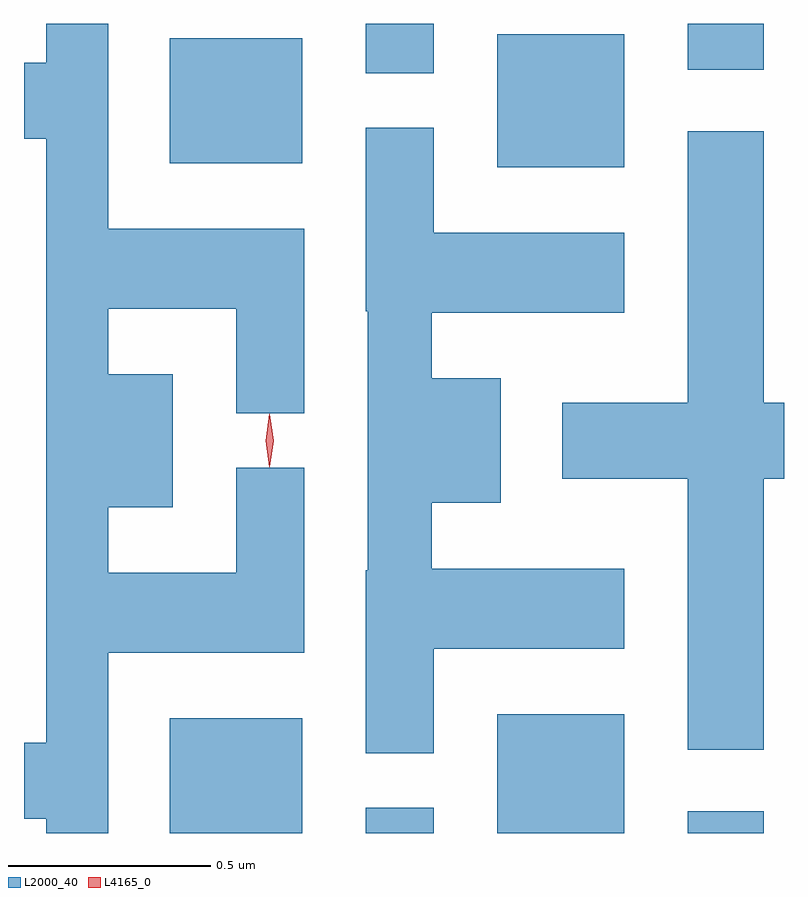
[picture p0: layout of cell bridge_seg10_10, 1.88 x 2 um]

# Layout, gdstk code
import gdstk
lib = gdstk.Library(unit=1e-6, precision=1e-09)
def R(c, l, rs):  # rectangles x0, y0, x1, y1
    for r in rs: c.add(gdstk.rectangle(r[:2], r[2:], *l))
def P(c, l, *ps):  # polygons
    for p in ps: c.add(gdstk.Polygon(p, *l))
L2000_40 = (2000, 40)
L4165_0 = (4165, 0)

bridge_seg10_10 = lib.new_cell('bridge_seg10_10')
R(bridge_seg10_10, L2000_40, [(1912.546,2169.88,1912.874,2170.164), (1913.031,2169.88,1913.199,2169.943), (1913.356,2169.88,1913.669,2170.174), (1913.826,2169.88,1914.014,2169.934), (1913.356,2171.526,1913.669,2171.854), (1912.546,2171.536,1912.874,2171.844), (1913.031,2171.758,1913.199,2171.88), (1913.826,2171.766,1914.014,2171.88)])
P(bridge_seg10_10, L2000_40, [(1912.394,2170.326),(1912.879,2170.326),(1912.879,2170.783),(1912.711,2170.783),(1912.711,2170.524),(1912.394,2170.524),(1912.394,2170.686),(1912.554,2170.686),(1912.554,2171.014),(1912.394,2171.014),(1912.394,2171.176),(1912.711,2171.176),(1912.711,2170.918),(1912.879,2170.918),(1912.879,2171.374),(1912.394,2171.374),(1912.394,2171.88),(1912.241,2171.88),(1912.241,2171.784),(1912.186,2171.784),(1912.186,2171.596),(1912.241,2171.596),(1912.241,2170.104),(1912.186,2170.104),(1912.186,2169.916),(1912.241,2169.916),(1912.241,2169.88),(1912.394,2169.88)],
  [(1913.199,2170.336),(1913.669,2170.336),(1913.669,2170.534),(1913.194,2170.534),(1913.194,2170.696),(1913.364,2170.696),(1913.364,2171.004),(1913.194,2171.004),(1913.194,2171.166),(1913.669,2171.166),(1913.669,2171.364),(1913.199,2171.364),(1913.199,2171.623),(1913.031,2171.623),(1913.031,2171.17),(1913.036,2171.17),(1913.036,2170.53),(1913.031,2170.53),(1913.031,2170.078),(1913.199,2170.078)],
  [(1914.014,2170.756),(1914.064,2170.756),(1914.064,2170.944),(1914.014,2170.944),(1914.014,2171.614),(1913.826,2171.614),(1913.826,2170.944),(1913.516,2170.944),(1913.516,2170.756),(1913.826,2170.756),(1913.826,2170.086),(1914.014,2170.086)])
P(bridge_seg10_10, L4165_0, [(1912.793,2170.784),(1912.792,2170.785),(1912.783,2170.85),(1912.792,2170.915),(1912.793,2170.916),(1912.793,2170.915),(1912.803,2170.85),(1912.793,2170.785)])

lib.write_gds('bridge_seg10_10.gds')
